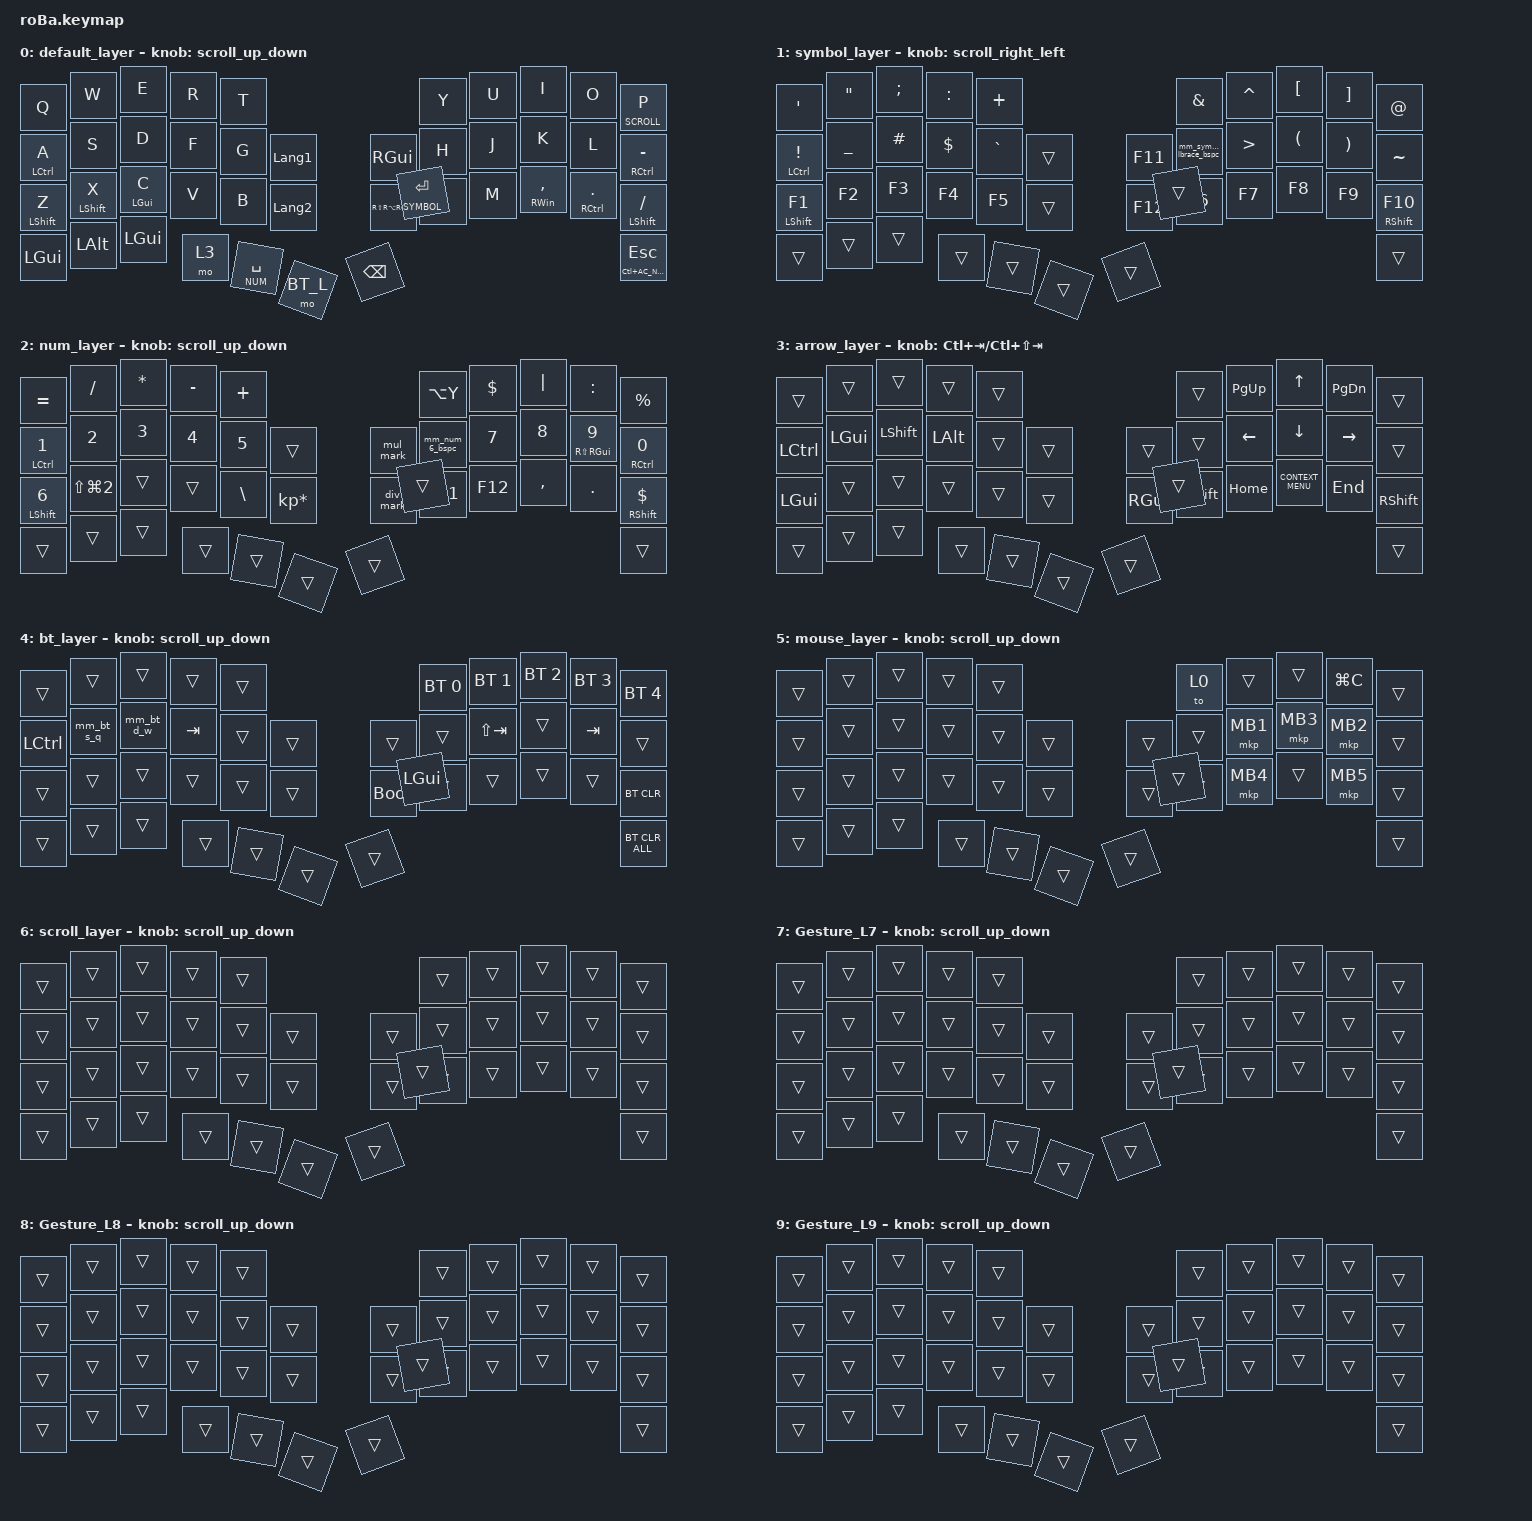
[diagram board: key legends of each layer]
#include <dt-bindings/zmk/mouse-gesture.h>

// &zip_temp_layer is used below for &mkp_input_listener. roBa_R.overlay includes
// this too, but the keymap is compiled for both halves, so it needs its own.

#include <input/processors.dtsi>
#include <behaviors.dtsi>
#include <dt-bindings/zmk/bt.h>
#include <dt-bindings/zmk/keys.h>
#include <dt-bindings/zmk/pointing.h>

#define ZMK_POINTING_DEFAULT_SCRL_VAL 100

// Layer index aliases

#define BASE   0
#define SYMBOL 1
#define NUM    2
#define ARROW  3
#define BT_L   4
#define MOUSE  5
#define SCROLL 6
#define L7     7
#define L8     8
#define L9     9

&mt {
    flavor = "balanced";

    // 起点は1回目の「押下」なので、押している時間も窓に含まれる。&lt と揃えて 300。

    quick-tap-ms = <300>;

    // 直前に別キーを打っていれば即タップに倒す。連続入力中の判定待ちを無くす。
    // 150msでは単語の切れ目など打鍵間隔が開いた場面をすり抜けて誤爆したため170msへ。

    require-prior-idle-ms = <170>;
};

&lt {
    flavor = "balanced";
    quick-tap-ms = <300>;
};

&trackball {
    // Auto mouse layer is now driven by &zip_temp_layer (see roBa_R.overlay).

    scroll-layers = <SCROLL>;
};

// A click is the end of a mouse interaction, so drop AML 300ms after any mouse
// button event. This removes the need to remember to press an exit key before
// typing again. Reuses the single &zip_temp_layer instance with a shorter TTL
// (multiple instances of that processor do not compile - zmk#3282).

&mkp_input_listener { input-processors = <&zip_temp_layer MOUSE 300>; };

/ {
    combos {
        compatible = "zmk,combos";

        tab {
            bindings = <&kp TAB>;
            key-positions = <12 13>;
        };

        shift_tab {
            bindings = <&kp LS(TAB)>;
            key-positions = <11 12>;
        };

        muhennkann {
            bindings = <&to_layer_0 INT_MUHENKAN>;
            key-positions = <11 10>;
        };

        double_quotation {
            bindings = <&kp DOUBLE_QUOTES>;
            key-positions = <20 21>;
        };

        eq {
            bindings = <&kp EQUAL>;
            key-positions = <24 25>;
        };

        // Paste used to sit on I alone, which is a top-frequency romaji key and
        // pasted into the document on every AML misfire. U+I on the MOUSE layer
        // only. Both positions must be in excluded-positions (roBa_R.overlay)
        // or temp_layer drops the layer before the combo is evaluated.

        mouse_paste {
            bindings = <&kp LG(V)>;
            key-positions = <6 7>;
            layers = <MOUSE>;
        };

        // 全角入力中に半角スペースを打つ「zを押しながらスペース」用。
        // Zのhold-tapはロールオーバー対策(require-prior-idle等)がすべて
        // タップに倒す方向のため、素早いz+スペースでは文字zが変換に入って
        // しまう。タイミングでは判別できないが相手キーがスペースであれば
        // 半角スペース意図と確定できるので、コンボでShift+Spaceを
        // アトミックに送出する。IME側のShift+Space=半角スペース設定が前提。
        // timeout-msはshift_pの教訓どおりhm_shift_zのtapping-term(160)と
        // 同値にする。以前の100msでは、Z→Spaceの間隔が100〜200msのとき
        // コンボ切れ+hold未確定(Spaceはhold-trigger-key-positions外なので
        // Z即タップ)の隙間に落ち、「z」が変換に入っていた。
        // (check_keymap_gaps.pyが検出した隙間)
        // slow-release+専用マクロでZを離すまでShiftを維持する
        // (理由は half_space_hold マクロ定義のコメント参照)。

        half_space {
            bindings = <&half_space_hold>;
            key-positions = <22 38>;
            timeout-ms = <160>;
            slow-release;
            layers = <BASE>;
        };

        // Z(Shift)+P の大文字Pを、同時押しを検出した瞬間に確定させる。
        // hm_shift_z のbalanced判定は「相手キーを押して離す」までhold確定を
        // 待つため、素早くロールして先にZを離すと「zp」に化ける。flavorを
        // hold-preferredにするとリスト内の全キーが押下即Shiftになり副作用が
        // 大きいので、Pだけコンボでアトミックに送出する。ローマ字に「zp」は
        // 現れないため誤爆の余地がない。
        // timeout-msは必ずtapping-term-ms(160)と同値にすること: 100msだと
        // Z→Pの間隔が100〜160msのときコンボ切れ+hold未確定の隙間が生まれ、
        // Pより先にZを離すと「zp」に化ける(実際に発生した)。160msなら
        // 間隔0〜160msはコンボ、160ms超はhold確定済みのShiftで隙間がない。
        // slow-release+専用マクロでZを離すまでShiftを維持する
        // (理由は shift_enter_hold マクロ定義のコメント参照)。

        shift_p {
            bindings = <&shift_p_hold>;
            key-positions = <22 9>;
            timeout-ms = <160>;
            slow-release;
            layers = <BASE>;
        };

        // Enter(SYMBOL)+P の「@」を、同時押しを検出した瞬間に確定させる。
        // &lt のbalanced判定は「Pを押して離す」までhold確定を待つため、
        // チョン押しでPより先にEnterを離すとタップに倒れ「Enter+p」に化ける。
        // さらに&ltのquick-tap-ms=300により、Enter(確定/改行)直後300ms以内の
        // 押し直しは必ずタップ(リピート)になりSYMBOLに入れない隙もある。
        // half_space(Z+Space)と同じく相手キーがPなら@意図と確定できるので
        // コンボでアトミックに送出する。コンボはhold-tapより先に評価される
        // ためquick-tapの影響も受けない。
        // timeout-msはshift_pの教訓どおり&ltのtapping-term(200)と同値にして
        // コンボ切れ+hold未確定の隙間を作らない。
        // 注意: 直接入力で「p→Enter」を200ms以内に重ねてロールすると@に
        // 化け得る(ローマ字はpで終わる打鍵列がないため日本語入力は安全)。

        at_mark {
            bindings = <&kp AT_SIGN>;
            key-positions = <41 9>;
            timeout-ms = <200>;
            layers = <BASE>;
        };

        // Z(Shift)+Enter の「Shift+Enter」を、同時押しを検出した瞬間に確定
        // させる。shift_pと同型の隙間: hm_shift_z のbalanced判定は「相手キー
        // を押して離す」までhold確定を待つため、素早くロールして先にZを離すと
        // 「z」+Enter(通常の改行)に化ける。hold-trigger-key-positionsに41
        // (Enter)を加えただけではこの「Zを先に離す」ケースは救えない
        // (balanced判定に入るだけで、判定順序の問題はそのまま残るため)。
        // H/K/L と違い、zの後にEnterが続く入力をローマ字で使う理由がなく、
        // 「先にZを離す」を逃げ道として残す必要もないため、Pと同じく
        // コンボでアトミックに送出する。
        // timeout-msはshift_p/at_markと同じくtapping-term-ms(160)と同値にして
        // コンボ切れ+hold未確定の隙間を作らない。
        // さらに slow-release+専用マクロで「Zを離すまでShift維持」にする。
        // &kp LS(ENTER) の直バインドでは相手キー(Enter)を離した瞬間にコンボが
        // バインディングを解放してShiftが消え、Zを押したままEnterを連打すると
        // 2回目以降がただの改行に化けていた(実バグ。詳細はマクロ定義参照)。

        shift_enter {
            bindings = <&shift_enter_hold>;
            key-positions = <22 41>;
            timeout-ms = <160>;
            slow-release;
            layers = <BASE>;
        };

        // F+G同時押し = F17。Raycast側のホットキーをF17に設定して使う。
        // 以前はA(Ctrl)+GのCtrl+Gで起動していたが、a→gは「あが/あご」等で
        // ローマ字に実在するため、ホールドタップ調整でもコンボでも
        // 「タイピング保護」と「即時起動」を両立できなかった(CLAUDE.md参照)。
        // F+Gは修飾キーを介さず専用キーF17を送るのでホールドタップとの
        // 奪い合い(隙間)が構造的に発生せず、「fg」はローマ字にも英語にも
        // 実在しない並びなので誤発もない。FとGは隣接キーなので人差し指
        // 1本を寝かせた同時押しで発火する。
        // timeout-msは200に拡張(既定50msだと「少し長めに押す」呼び出し方に
        // 対して切れが早すぎ、コンボ不成立でF/Gそれぞれの&mt(Alt/Ctrl)へ
        // 流れてしまっていた)。fgはローマ字にも英語にも現れないため、
        // 広げてもタイピング中の誤発リスクは生じない(raycast_agのa→gとは
        // 異なりrequire-prior-idleでの抑止は不要)。
        // 不発時は「fg」の文字入力に倒れるだけで無害。

        raycast_fg {
            bindings = <&kp F17>;
            key-positions = <13 14>;
            timeout-ms = <200>;
            layers = <BASE>;
        };

        // O+P は「ぽ」等の高頻度ロールオーバーで誤爆する(U+Iのpasteコンボと
        // 同じ問題)。require-prior-idle-ms で文中のpoは抑止しつつ、
        // 打ち始め(アイドル後)にコンボへ食われた場合も実害が出ないよう、
        // ht_gesture_l8 でタップ=「po」打鍵 / ホールド=L8 に振り分ける。
        // ジェスチャー時はどうせストローク中押しっぱなしなのでホールドに
        // 自然に倒れる。K+Lは "kl" がローマ字に現れないため従来のまま。

        gesture_l8 {
            bindings = <&ht_gesture_l8 L8 0>;
            key-positions = <8 9>;
            require-prior-idle-ms = <150>;
        };

        gesture_l9 {
            bindings = <&mo L9>;
            key-positions = <19 20>;
            require-prior-idle-ms = <150>;
        };
    };

    macros {
        to_layer_0: to_layer_0 {
            compatible = "zmk,behavior-macro-one-param";
            #binding-cells = <1>;
            bindings = <&to 0 &macro_param_1to1 &kp MACRO_PLACEHOLDER>;
            label = "TO_LAYER_0";
        };

        // NOTE: 動画版の mul_mark / div_mark の実際の出力が不明のため、
        // テンキーの × (KP_MULTIPLY) / ÷ (KP_DIVIDE) を暫定割当。

        mul_mark: mul_mark {
            compatible = "zmk,behavior-macro";
            #binding-cells = <0>;
            bindings = <&kp KP_MULTIPLY>;
            label = "MUL_MARK";
        };

        div_mark: div_mark {
            compatible = "zmk,behavior-macro";
            #binding-cells = <0>;
            bindings = <&kp KP_DIVIDE>;
            label = "DIV_MARK";
        };

        // Z系加速コンボ(half_space/shift_p/shift_enter)の受け先マクロ群。
        // &kp LS(X) を直接バインドすると、コンボは「最初のキーが離れた時点」で
        // バインディング全体を解放するため、相手キー(X)を離した瞬間にShiftも
        // 消える。Zは物理的に押しっぱなしでも、押下イベント自体がコンボに
        // 消費済みで hm_shift_z は働いておらず、そのまま相手キーを連打すると
        // 2回目以降が無修飾に化ける(Z+Enter連打で2回目がただの改行になる
        // 実バグ)。
        // 対策: コンボ側に slow-release(全キー解放までバインディング維持)を
        // 付け、マクロで「Shift押下→相手キーを1回タップ→(解放まで保持)→
        // Shift解放」とする。Zを押している限りShiftが維持されるので、
        // 相手キーの連打も後続キーの大文字入力もhold確定後と同じ挙動になる。
        // &kp LS(X) + slow-release だけだと相手キーのキーコードが押しっぱなし
        // になりOSのオートリピートが暴発するため、タップとShift保持を
        // マクロで分離している。

        shift_enter_hold: shift_enter_hold {
            compatible = "zmk,behavior-macro";
            wait-ms = <0>;
            tap-ms = <0>;
            #binding-cells = <0>;
            bindings =
                <&macro_press>,
                <&kp LSHFT>,
                <&macro_tap>,
                <&kp ENTER>,
                <&macro_pause_for_release>,
                <&macro_release>,
                <&kp LSHFT>;

            label = "SHIFT_ENTER_HOLD";
        };

        shift_p_hold: shift_p_hold {
            compatible = "zmk,behavior-macro";
            wait-ms = <0>;
            tap-ms = <0>;
            #binding-cells = <0>;
            bindings =
                <&macro_press>,
                <&kp LSHFT>,
                <&macro_tap>,
                <&kp P>,
                <&macro_pause_for_release>,
                <&macro_release>,
                <&kp LSHFT>;

            label = "SHIFT_P_HOLD";
        };

        half_space_hold: half_space_hold {
            compatible = "zmk,behavior-macro";
            wait-ms = <0>;
            tap-ms = <0>;
            #binding-cells = <0>;
            bindings =
                <&macro_press>,
                <&kp LSHFT>,
                <&macro_tap>,
                <&kp SPACE>,
                <&macro_pause_for_release>,
                <&macro_release>,
                <&kp LSHFT>;

            label = "HALF_SPACE_HOLD";
        };

        // O+Pコンボがタイピングの打ち始めで誤発火した際のタップ救済:
        // 食われた2打鍵の代わりに「p→o」を打鍵し直す。hold-tapのタップ側は
        // 1パラメータ必須のためone-param形式だが、パラメータは使用しない
        // (ht_gesture_l8からダミーの0が渡される)。

        type_po: type_po {
            compatible = "zmk,behavior-macro-one-param";
            wait-ms = <0>;
            tap-ms = <0>;
            #binding-cells = <1>;
            bindings = <&kp P &kp O>;
            label = "TYPE_PO";
        };
    };

    behaviors {
        scroll_up_down: scroll_up_down {
            compatible = "zmk,behavior-sensor-rotate";
            #sensor-binding-cells = <0>;
            bindings = <&msc SCRL_DOWN>, <&msc SCRL_UP>;

            tap-ms = <20>;
        };

        scroll_right_left: scroll_right_left {
            compatible = "zmk,behavior-sensor-rotate";
            #sensor-binding-cells = <0>;
            bindings = <&msc SCRL_LEFT>, <&msc SCRL_RIGHT>;

            tap-ms = <20>;
        };

        // Aは最高頻度キー。以前は balanced + require-prior-idle-ms=170 で連続
        // 入力中のhold誤爆を防いでいたが、prior-idleは「直前打鍵から170ms以内の
        // A押下」を押した瞬間にタップ確定させるため、タイピング中にミスへ気づいて
        // 即 A長押し+H(Ctrl+H)で消す操作が「(a)h」の文字入力に化けていた。
        // prior-idleをやめ、代わりに2段構えでロールオーバーを守る:
        //  - hold-trigger-key-positions=<17 19 20>(H/K/L): タイピング中に多用する
        //    Ctrl+H(1文字削除)・Ctrl+K(カタカナ変換)・Ctrl+L(英数変換)だけhold候補
        //    に残し、それ以外のキーが割り込んだら即タップ確定。保護範囲は従来同等
        //    で、判定時点がA押下時→相手キー押下時になるだけ(aの文字は次キーと
        //    同時に出る)。一時期Raycast(Ctrl+G)用にGもリストに入れていたが、
        //    a→g(あが/あげ)のロール保護と両立できず誤爆を繰り返したため、
        //    Raycastはraycast_fgコンボ(F+G→F17)へ移設してGを外した。
        //    Gはリスト外=A押下の瞬間タップ確定に戻り、タイミング非依存で安全。
        //  - tap-preferred: H/K/Lとの組でも200ms以内にAを離せばタップ。「あは/
        //    あか/あき/〜aは」等のa→h,k,l巻き込みでCtrl+H(=無言の1文字削除)や
        //    Ctrl+K(=意図しないカタカナ変換)が誤発しない。
        // tapping-termは200を維持する。一度150へ縮めたところ、通常タイピングの
        // a単打の押下時間(押して離すまで)は150msを超えることが多く、a単打が
        // hold(Ctrl)扱いになり「aが出ない」回帰を起こした(CLAUDE.md参照)。
        // Ctrl+H/K/LはAをterm以上押し続けたときだけ発動し、term前に押した
        // 相手キーもキュー再生されるので取りこぼさない。リスト外キーとの
        // Ctrl組み合わせはAを長押ししてhold確定後に相手キーを押せば従来
        // どおり。quick-tap-msはタップ直後の押し直しをCtrlとして使うため0のまま。

        hm_instant: hm_instant {
            compatible = "zmk,behavior-hold-tap";
            label = "HM_INSTANT";
            bindings = <&kp>, <&kp>;

            #binding-cells = <2>;
            tapping-term-ms = <200>;
            flavor = "tap-preferred";
            quick-tap-ms = <0>;
            hold-trigger-key-positions = <17 19 20>;
        };

        // S(Shift+Cmd)は「し(shi)」「しゃ(sha)」等のs→hロールで、hを押して
        // 離した時点でbalancedがholdを確定し、後続もろともShift+Cmd+H/Iに
        // 化ける誤爆があった(require-prior-idle=170は連続入力中しか効かず、
        // 打ち始めや打鍵間隔の開いた「し」がすり抜ける)。
        // タイピング快適性を最優先し、tap-preferredの専用behaviorへ差し替え:
        //  - キー割り込みではholdに倒さない。termの200ms未満でSを離せば常に
        //    タップで、巻き込んだキーもキュー再生されるので取りこぼしなし
        //  - require-prior-idle=170は維持: 連続入力中は押した瞬間タップ確定で
        //    表示遅延もゼロ(アイドル後の打ち始めのみキュー再生の僅かな遅延)
        //  - Shift+Cmdショートカットは、Sを200ms(tapping-term)押し込んで
        //    hold確定させてから相手キーを押す(termまでに巻き込んだ相手キーも
        //    mods付きで再生される)。トレードオフ: 打鍵直後170ms以内に
        //    S長押しを始めるショートカットは効かない(一拍おいてから押す)
        // quick-tap=300はタップ直後の押し直しを必ずタップに倒す(&mtと同値)。
        // D(Cmd)/F(Alt)/G(Ctrl)にも同型の誤爆リスクはあるが、実害報告のある
        // ものだけ差し替え、他は顕在化したら同じbehaviorへ寄せる。
        // C(Cmd)は「ちゃ/ち/ちゅ/ちょ」等ローマ字のch直後打鍵でC+HがCmd+H
        // (アプリを隠す)に化ける誤爆が実際に起きたため、同じhm_typingへ
        // 差し替え済み(下記keymap参照)。V/Z等の意図的なCmd+キーはCを
        // 200ms押し込んでhold確定させてから相手キーを押せば従来どおり動く。

        hm_typing: hm_typing {
            compatible = "zmk,behavior-hold-tap";
            label = "HM_TYPING";
            bindings = <&kp>, <&kp>;

            #binding-cells = <2>;
            tapping-term-ms = <200>;
            flavor = "tap-preferred";
            quick-tap-ms = <300>;
            require-prior-idle-ms = <170>;
        };

        // &lt と同じ設定に require-prior-idle-ms を追加した layer-tap。
        // Pキー(SCROLL)はロールオーバーの多い「ぽ/ぴ」等の直後に叩かれるため、
        // &mt と同様に直前打鍵から150ms以内なら即タップに倒す。
        // 他の &lt 利用箇所(SPACEやENTER等)は単語直後にあえて長押しする
        // 使い方があるため、影響をPキーだけに限定する。
        // flavorはtap-preferredにすること: balancedだと打ち始め(アイドル後)の
        // 速い「pu」等でP押下中にUの押下→解放が完了した時点でholdが確定し、
        // pが消えて「u」だけになる誤爆があった。SCROLLホールドはトラック
        // ボール操作専用で他キーとの同時押しを必要としないため、キー割り込み
        // でholdに倒す理由がなく、200ms押し続けたときだけholdで十分。

        lt_instant_tap: lt_instant_tap {
            compatible = "zmk,behavior-hold-tap";
            label = "LT_INSTANT_TAP";
            bindings = <&mo>, <&kp>;

            #binding-cells = <2>;
            tapping-term-ms = <200>;
            flavor = "tap-preferred";
            quick-tap-ms = <300>;
            require-prior-idle-ms = <150>;
        };

        // Z(Shift)+/ の「？」がタイプ中に「・」へ化ける誤爆対策。
        // 原因: &mt の require-prior-idle-ms=170 は「直前打鍵から170ms以内の
        // Z押下」をどれだけ長押ししても押した瞬間にタップ(z)確定させるため、
        // 文末を速く打った直後の Z+/ が「z」「/」となり、IMEの「z/」→「・」
        // 変換に食われる(zは変換で消費されるので画面には・だけが残る)。
        // 対策: Z専用hold-tapで prior-idle をやめ、代わりに
        // hold-trigger-key-positionsで「ローマ字でzの直後に来ないキー」を
        // 列挙して保護する:
        //  - リスト外のキー(zに続く母音 A/I/U/E/O と拗音のY)が割り込んだら
        //    即タップ(z)。prior-idleと違いタイミング非依存なので「ず(zu)」等の
        //    速い巻き込みでも誤holdしない。
        //  - リスト内のキーが割り込んだ時だけbalanced判定: Zを押したまま相手
        //    キーを押して離せばhold(Shift)。z→相手キーを文字として速くロール
        //    した場合(先にzを離す)はタップのまま。
        //    balancedは「相手キーを押して離す」までhold確定を待つため、素早い
        //    ロールで先にZを離すと「zp」に化ける。ここをflavorで解決すると
        //    (hold-preferred)リスト内の全キーが押下即Shiftになり副作用が
        //    大きいので、大文字化の頻度が高いPだけshift_pコンボで即時化する。
        // リストは / と Enter に加え、母音とY以外の全英字。これで
        //  - Z+/ = 「？」
        //  - Z長押し+英字 = 大文字(Z+Pが「zp」に化けていた誤爆への対策)
        //  - Z長押し+K等がIMEのzショートカット(zk=↑/zh=←/zj=↓/zl=→)に
        //    食われて矢印に化ける誤爆の防止
        // をまとめて実現できる。↑や・を出したい時は従来どおりzを離してから
        // 相手キーを打つ。大文字の A/I/U/E/O/Y だけはZシフトでは打てない
        // (即タップ確定のため)ので、X側Shiftか右手の/(Shift)を使う。
        // Enter(41)も同構造でShift+Enter(改行/変換確定)が効かず「z」+改行に
        // なっていた。ローマ字ではzの後に必ず母音が要るため「z直後にEnter」は
        // 日本語入力で意図されることがなく、balanced判定に入れて安全。ただし
        // Pと同じく、hold-trigger-key-positionsへの追加だけでは「先にZを離す」
        // 高速ロールを救えない(balanced判定に入っても判定順序の問題は残る)ため、
        // Pと同じくshift_enterコンボ(combos参照)を併設して即時確定させる。
        // 「・」自体は従来どおり / 単打で入力できるので失うものはない。
        // Z+Spaceのhalf_spaceコンボと同じ「相手キーで意図を確定する」発想だが、
        // シフトとしてZを先に押し込んでから/を押すとコンボのtimeout-msを超えて
        // 取りこぼすため、基本はhold-tap側で実装する。P/Enterのみ即時性を優先
        // してそれぞれ専用コンボ(timeout=tapping-termの160ms)を併設し、160ms超の
        // 「Zを先に押し込む」使い方はhold確定済みのShiftが受け持つ。

        hm_shift_z: hm_shift_z {
            compatible = "zmk,behavior-hold-tap";
            label = "HM_SHIFT_Z";
            bindings = <&kp>, <&kp>;

            #binding-cells = <2>;

            // 200ms→170ms→160msに短縮。Z+相手キーを両方押しっぱなしにする
            // 使い方(balancedなので相手キー解放 or このタイマー切れで確定)
            // でのShift確定の体感遅延を縮める。150ms以下には縮めない
            // (通常タイピングの単打がhold化けする回帰。CLAUDE.md参照)。

            tapping-term-ms = <160>;
            flavor = "balanced";
            quick-tap-ms = <300>;
            hold-trigger-key-positions = <0 1 3 4 9 11 12 13 14 17 18 19 20 23 24 25 26 29 30 33 41>;
        };

        // NUM(スペース)長押し+Aが「1」でなく「スペース+a」になる誤爆対策。
        // 原因は &lt の quick-tap-ms=300: スペースをタップした後300ms以内に
        // 同キーを押し直すと、どれだけ長押ししてもタップ(スペース押しっぱなし)
        // 確定となり、NUMレイヤーに入らないままAが「a」で出る。
        // 「変換/スペース→すぐ数字入力」の速い流れでちょうど踏む。
        // 折衷案としてquick-tap-msを300→150に短縮(0にはしない)。
        // スペースのオートリピート連打(タップ直後に押し直して長押し)は
        // 150ms以内の速い押し直しに限り従来どおり有効なまま、
        // 「変換確定→数字」のようなやや間の空く(150ms超の)押し直しでは
        // 長押しがNUMとして正しく確定するようにする。0にする案より
        // 誤爆の再発余地はわずかに残るが、スペース連打の使い勝手を残す。
        // Enter(SYMBOL)等の他の &lt には手を付けず影響をスペースに限定する。
        // BT_Lへ一時転用したが馴染まなかったためNUMに戻す。

        lt_num_space: lt_num_space {
            compatible = "zmk,behavior-hold-tap";
            label = "LT_NUM_SPACE";
            bindings = <&mo>, <&kp>;

            #binding-cells = <2>;
            tapping-term-ms = <200>;
            flavor = "balanced";
            quick-tap-ms = <150>;
        };

        // O+Pコンボ(gesture_l8)の受け先。短く押して離せばタップ=type_po
        // (「po」と打鍵し直す)、押し続ければホールド=L8ジェスチャー層。
        // flavorは必ずtap-preferredにすること: balancedやhold-preferredだと
        // 「ポイント」のような速い後続打鍵(i等)が割り込み判定でholdを確定
        // させ、poが消えて後続キーもL8(不活性)に食われる。

        ht_gesture_l8: ht_gesture_l8 {
            compatible = "zmk,behavior-hold-tap";
            label = "HT_GESTURE_L8";
            bindings = <&mo>, <&type_po>;

            #binding-cells = <2>;
            tapping-term-ms = <200>;
            flavor = "tap-preferred";
        };

        // BT_L層でA(=LCTRL)を押している間だけ S→Q / D→W に化けるmod-morph。
        // keep-modsでCtrlを保持したまま送るので、OSには Ctrl+Q / Ctrl+W が
        // 届く(左手だけで完結するショートカット用)。Ctrl非押下時は
        // BT_L層の従来割り当て(S=LGUI, D=Shift+Tab)のまま。

        mm_bt_s_q: mm_bt_s_q {
            compatible = "zmk,behavior-mod-morph";
            label = "MM_BT_S_Q";
            #binding-cells = <0>;
            bindings = <&kp LGUI>, <&kp Q>;

            mods = <(MOD_LCTL)>;
            keep-mods = <(MOD_LCTL)>;
        };

        mm_bt_d_w: mm_bt_d_w {
            compatible = "zmk,behavior-mod-morph";
            label = "MM_BT_D_W";
            #binding-cells = <0>;
            bindings = <&kp LS(TAB)>, <&kp W>;

            mods = <(MOD_LCTL)>;
            keep-mods = <(MOD_LCTL)>;
        };

        // Ctrl+6(NUM層のH位置)・Ctrl+<(SYMBOL層のH位置)をBackspaceにする。
        // CtrlはAのhold-tap(LCTRL)から供給されるため、押下時点でmodsに
        // LCTRL/RCTRLが立っている。mm_bt_s_q/mm_bt_d_wはkeep-modsでCtrlを
        // 残して送っているが、ここは逆にCtrl抜きの単発Backspaceが欲しいので
        // keep-modsは付けない(mod-morphは発火時のmodsをデフォルトで
        // マスクする)。Ctrl非押下時は6 / < が出る(SYMBOL層は右隣の>と対にするため{から変更)。

        mm_num_6_bspc: mm_num_6_bspc {
            compatible = "zmk,behavior-mod-morph";
            label = "MM_NUM_6_BSPC";
            #binding-cells = <0>;
            bindings = <&kp NUMBER_6>, <&kp BACKSPACE>;

            mods = <(MOD_LCTL|MOD_RCTL)>;
        };

        mm_symbol_lbrace_bspc: mm_symbol_lbrace_bspc {
            compatible = "zmk,behavior-mod-morph";
            label = "MM_SYMBOL_LBRACE_BSPC";
            #binding-cells = <0>;
            bindings = <&kp LESS_THAN>, <&kp BACKSPACE>;

            mods = <(MOD_LCTL|MOD_RCTL)>;
        };
    };

    zip_mouse_gesture_l7: zip_mouse_gesture_l7 {
        compatible = "zmk,input-processor-mouse-gesture";
        #input-processor-cells = <0>;
        always-active;
        enable-eager-mode;
        suppress-movement;
        stroke-size = <5>;
        movement-threshold = <6>;
        idle-timeout-ms = <100>;
        gesture-cooldown-ms = <120>;

        // Tab management

        prev_tab {
            pattern = <GESTURE_LEFT>;
            bindings = <&kp LC(LS(TAB))>;
        };

        next_tab {
            pattern = <GESTURE_RIGHT>;
            bindings = <&kp LC(TAB)>;
        };

        new_tab {
            pattern = <GESTURE_UP>;
            bindings = <&kp LG(T)>;
        };

        close_tab {
            pattern = <GESTURE_DOWN>;
            bindings = <&kp LG(W)>;
        };
    };

    zip_mouse_gesture_l8: zip_mouse_gesture_l8 {
        compatible = "zmk,input-processor-mouse-gesture";
        #input-processor-cells = <0>;
        always-active;
        enable-eager-mode;
        suppress-movement;
        stroke-size = <5>;
        movement-threshold = <6>;
        idle-timeout-ms = <100>;
        gesture-cooldown-ms = <120>;

        // Virtual desktop (Mission Control space) management
        // Left/right reversed to mimic trackpad-style natural swipe direction.

        desk_prev {
            pattern = <GESTURE_RIGHT>;
            bindings = <&kp LC(LEFT_ARROW)>;
        };

        desk_next {
            pattern = <GESTURE_LEFT>;
            bindings = <&kp LC(RIGHT_ARROW)>;
        };

        mission_ctrl {
            pattern = <GESTURE_UP>;
            bindings = <&kp LC(UP_ARROW)>;
        };

        app_expose {
            pattern = <GESTURE_DOWN>;
            bindings = <&kp LC(DOWN_ARROW)>;
        };
    };

    zip_mouse_gesture_l9: zip_mouse_gesture_l9 {
        compatible = "zmk,input-processor-mouse-gesture";
        #input-processor-cells = <0>;
        always-active;
        enable-eager-mode;
        suppress-movement;
        stroke-size = <5>;
        movement-threshold = <6>;
        idle-timeout-ms = <100>;
        gesture-cooldown-ms = <120>;

        // App switching / quick actions

        prev_app {
            pattern = <GESTURE_LEFT>;
            bindings = <&kp LG(LS(TAB))>;
        };

        next_app {
            pattern = <GESTURE_RIGHT>;
            bindings = <&kp LG(TAB)>;
        };

        focus_url {
            pattern = <GESTURE_UP>;
            bindings = <&kp LG(L)>;
        };

        spotlight {
            pattern = <GESTURE_DOWN>;
            bindings = <&kp LG(SPACE)>;
        };
    };

    keymap {
        compatible = "zmk,keymap";

        default_layer {
            bindings = <
&kp Q                     &kp W             &kp E              &kp R  &kp T                                                              &kp Y             &kp U  &kp I                &kp O          &lt_instant_tap SCROLL P
&hm_instant LCTRL A       &kp S             &kp D              &kp F  &kp G                    &kp LANGUAGE_1      &kp RGUI              &kp H             &kp J  &kp K                &kp L          &mt RCTRL MINUS
&hm_shift_z LEFT_SHIFT Z  &mt LEFT_SHIFT X  &hm_typing LGUI C  &kp V  &kp B                    &kp LANGUAGE_2      &kp RS(RA(RC(RGUI)))  &kp N             &kp M  &mt RIGHT_WIN COMMA  &mt RCTRL DOT  &mt LEFT_SHIFT SLASH
&kp LGUI                  &kp LALT          &kp LGUI           &mo 3  &lt_num_space NUM SPACE  &mo BT_L            &kp BACKSPACE         &lt SYMBOL ENTER                                             &mt LC(C_AC_NEXT_KEYBOARD_LAYOUT_SELECT) ESC
            >;

            sensor-bindings = <&scroll_up_down>;
        };

        symbol_layer {
            bindings = <
&kp SINGLE_QUOTE  &kp DOUBLE_QUOTES  &kp SEMI  &kp COLON  &kp PLUS                        &kp AMPERSAND           &kp CARET         &kp LEFT_BRACKET  &kp RIGHT_BRACKET  &kp AT_SIGN
&mt LCTRL EXCL    &kp UNDERSCORE     &kp HASH  &kp DLLR   &kp GRAVE  &trans      &kp F11  &mm_symbol_lbrace_bspc  &kp GREATER_THAN  &kp LPAR          &kp RPAR           &kp TILDE
&mt LSHFT F1      &kp F2             &kp F3    &kp F4     &kp F5     &trans      &kp F12  &kp F6                  &kp F7            &kp F8            &kp F9             &mt RSHIFT F10
&trans            &trans             &trans    &trans     &trans     &trans      &trans   &trans                                                                         &trans
            >;

            sensor-bindings = <&scroll_right_left>;
        };

        num_layer {
            bindings = <
&kp EQUAL           &kp SLASH             &kp STAR      &kp MINUS     &kp PLUS                                       &kp LA(Y)       &kp DOLLAR    &kp PIPE      &kp COLON              &kp PERCENT
&mt LCTRL NUMBER_1  &kp NUMBER_2          &kp NUMBER_3  &kp NUMBER_4  &kp NUMBER_5   &trans               &mul_mark  &mm_num_6_bspc  &kp NUMBER_7  &kp NUMBER_8  &mt RS(RGUI) NUMBER_9  &mt RCTRL NUMBER_0
&mt LSHFT NUMBER_6  &kp LS(LG(NUMBER_2))  &trans        &trans        &kp BACKSLASH  &kp KP_MULTIPLY      &div_mark  &kp F11         &kp F12       &kp COMMA     &kp DOT                &mt RSHIFT DOLLAR
&trans              &trans                &trans        &trans        &trans         &trans               &trans     &trans                                                             &trans
            >;

            sensor-bindings = <&scroll_up_down>;
        };

        arrow_layer {
            // 右手側はWindows用ショートカット(Win+矢印スナップ, PrintScreen系)。Mac利用時は要調整。

            bindings = <
&trans     &trans    &trans     &trans    &trans                        &trans     &kp PG_UP       &kp UP_ARROW        &kp PAGE_DOWN    &trans
&kp LCTRL  &kp LGUI  &kp LSHFT  &kp LALT  &trans  &trans      &trans    &trans     &kp LEFT_ARROW  &kp DOWN_ARROW      &kp RIGHT_ARROW  &trans
&kp LGUI   &trans    &trans     &trans    &trans  &trans      &kp RGUI  &kp RSHFT  &kp HOME        &kp K_CONTEXT_MENU  &kp END          &kp RSHIFT
&trans     &trans    &trans     &trans    &trans  &trans      &trans    &trans                                                          &trans
            >;

            sensor-bindings = <&inc_dec_kp LC(TAB) LC(LS(TAB))>;
        };

        bt_layer {
            bindings = <
&trans     &trans      &trans      &trans   &trans                           &bt BT_SEL 0  &bt BT_SEL 1  &bt BT_SEL 2  &bt BT_SEL 3  &bt BT_SEL 4
&kp LCTRL  &mm_bt_s_q  &mm_bt_d_w  &kp TAB  &trans  &trans      &trans       &trans        &kp LS(TAB)   &trans        &kp TAB       &trans
&trans     &trans      &trans      &trans   &trans  &trans      &bootloader  &trans        &trans        &trans        &trans        &bt BT_CLR
&trans     &trans      &trans      &trans   &trans  &trans      &trans       &kp LGUI                                                &bt BT_CLR_ALL
            >;

            sensor-bindings = <&scroll_up_down>;
        };

        mouse_layer {
            // Y: AMLからの明示的な脱出キー。&trans+non-excludedのままでも
            // いずれ抜けはするが、&to 0でBASEまで即時・確実に戻す。
            // "y"は出力しない(脱出専用、muhennkannコンボのto_layer_0とは異なりキー出力なし)。

            bindings = <
&trans  &trans  &trans  &trans  &trans                      &to 0   &trans    &trans    &kp LG(C)  &trans
&trans  &trans  &trans  &trans  &trans  &trans      &trans  &trans  &mkp MB1  &mkp MB3  &mkp MB2   &trans
&trans  &trans  &trans  &trans  &trans  &trans      &trans  &trans  &mkp MB4  &trans    &mkp MB5   &trans
&trans  &trans  &trans  &trans  &trans  &trans      &trans  &trans                                 &trans
            >;

            sensor-bindings = <&scroll_up_down>;
        };

        scroll_layer {
            bindings = <
&trans  &trans  &trans  &trans  &trans                      &trans  &trans  &trans  &trans  &trans
&trans  &trans  &trans  &trans  &trans  &trans      &trans  &trans  &trans  &trans  &trans  &trans
&trans  &trans  &trans  &trans  &trans  &trans      &trans  &trans  &trans  &trans  &trans  &trans
&trans  &trans  &trans  &trans  &trans  &trans      &trans  &trans                          &trans
            >;

            sensor-bindings = <&scroll_up_down>;
        };

        Gesture_L7 {
            // Trackball gestures only; keys stay inert. See zip_mouse_gesture_l7.

            bindings = <
&trans  &trans  &trans  &trans  &trans                      &trans  &trans  &trans  &trans  &trans
&trans  &trans  &trans  &trans  &trans  &trans      &trans  &trans  &trans  &trans  &trans  &trans
&trans  &trans  &trans  &trans  &trans  &trans      &trans  &trans  &trans  &trans  &trans  &trans
&trans  &trans  &trans  &trans  &trans  &trans      &trans  &trans                          &trans
            >;

            sensor-bindings = <&scroll_up_down>;
        };

        Gesture_L8 {
            // Trackball gestures only; keys stay inert. See zip_mouse_gesture_l8.

            bindings = <
&trans  &trans  &trans  &trans  &trans                      &trans  &trans  &trans  &trans  &trans
&trans  &trans  &trans  &trans  &trans  &trans      &trans  &trans  &trans  &trans  &trans  &trans
&trans  &trans  &trans  &trans  &trans  &trans      &trans  &trans  &trans  &trans  &trans  &trans
&trans  &trans  &trans  &trans  &trans  &trans      &trans  &trans                          &trans
            >;

            sensor-bindings = <&scroll_up_down>;
        };

        Gesture_L9 {
            // Trackball gestures only; keys stay inert. See zip_mouse_gesture_l9.

            bindings = <
&trans  &trans  &trans  &trans  &trans                      &trans  &trans  &trans  &trans  &trans
&trans  &trans  &trans  &trans  &trans  &trans      &trans  &trans  &trans  &trans  &trans  &trans
&trans  &trans  &trans  &trans  &trans  &trans      &trans  &trans  &trans  &trans  &trans  &trans
&trans  &trans  &trans  &trans  &trans  &trans      &trans  &trans                          &trans
            >;

            sensor-bindings = <&scroll_up_down>;
        };
    };
};
